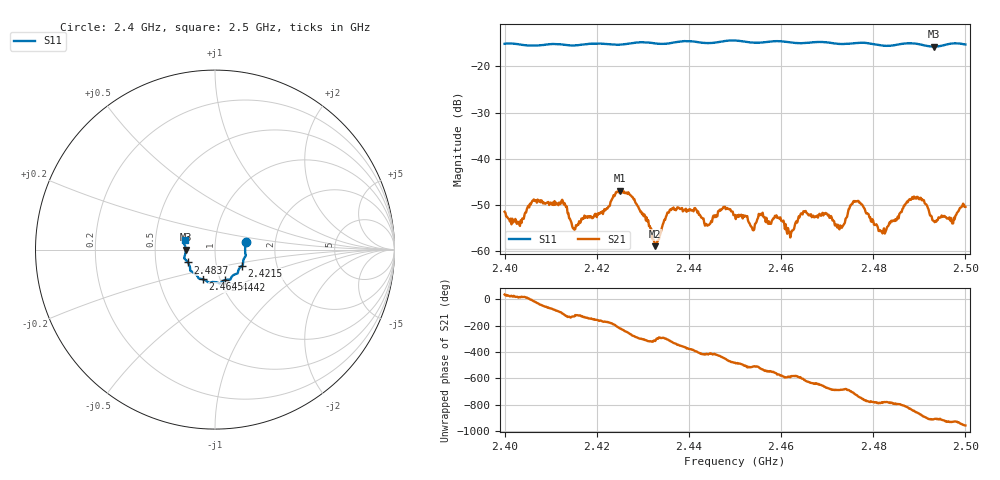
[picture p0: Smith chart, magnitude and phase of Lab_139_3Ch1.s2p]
# Hz S RI R 50
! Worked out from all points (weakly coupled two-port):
!   601 points, 2.4 GHz to 2.5 GHz, reference 50 ohm
!   highest |S21| = -46.97 dB at 2.425 GHz (marker M1); lowest = -59.0 dB at 2.4327 GHz (marker M2)
!   lowest |S11| = -15.7 dB at 2.4932 GHz (marker M3), VSWR 1.39, Z = 35.9 - j0.0489 ohm
!   |S11| at or under -10 dB: start of sweep to end of sweep
!   S12 and S22 are empty: the file has one direction only
!   S11 on the Smith chart (normalised r, x): 2.4 GHz: 1.41, +0.12; 2.4215 GHz: 1.33, -0.25; 2.4442 GHz: 1.05, -0.37; 2.4645 GHz: 0.83, -0.29; 2.4837 GHz: 0.73, -0.11; 2.5 GHz: 0.71, +0.07
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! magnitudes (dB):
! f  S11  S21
! 2.4 GHz  -15.1  -51.5
! 2.4123 GHz  -15.2  -49.2
! 2.4148 GHz  -15.5  -55.1
! 2.4167 GHz  -15.3  -53.0
! 2.4215 GHz  -15.1  -51.4
! 2.425 GHz  -15.3  -47.0
! 2.4278 GHz  -14.9  -48.4
! 2.4327 GHz  -15.0  -59.0
! 2.4333 GHz  -15.1  -57.7
! 2.4363 GHz  -14.9  -50.8
! 2.4442 GHz  -15.0  -54.4
! 2.45 GHz  -14.4  -52.2
! 2.4618 GHz  -14.8  -55.9
! 2.4645 GHz  -15.0  -51.9
! 2.4667 GHz  -14.8  -52.7
! 2.473 GHz  -15.2  -54.7
! 2.4763 GHz  -14.9  -49.3
! 2.4833 GHz  -15.6  -54.5
! 2.4837 GHz  -15.5  -54.0
! 2.489 GHz  -15.1  -48.6
! 2.4932 GHz  -15.7  -53.5
! 2.5 GHz  -15.3  -50.5
